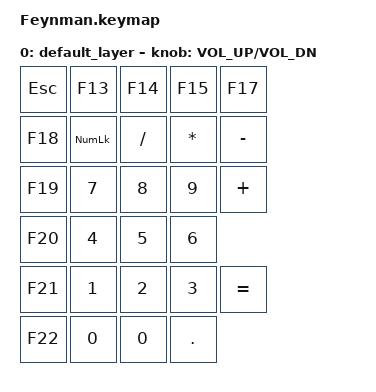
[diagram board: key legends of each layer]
#include <behaviors.dtsi>
#include <dt-bindings/zmk/bt.h>
#include <dt-bindings/zmk/keys.h>

#define DEFAULT 0

/ {
    keymap {
        compatible = "zmk,keymap";

        default_layer {
            bindings = <
            &kp ESC    &kp F13          &kp F14   &kp F15   &kp F17
            &kp F18    &kp KP_NUMLOCK   &kp SLASH &kp STAR  &kp MINUS
            &kp F19    &kp N7           &kp N8    &kp N9    &kp PLUS
            &kp F20    &kp N4           &kp N5    &kp N6  
            &kp F21    &kp N1           &kp N2    &kp N3    &kp EQUAL
            &kp F22    &kp N0          &kp N0     &kp DOT  
            >;
        sensor-bindings = <
            &inc_dec_kp C_VOL_UP C_VOL_DN
            >;
        };
    };
};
